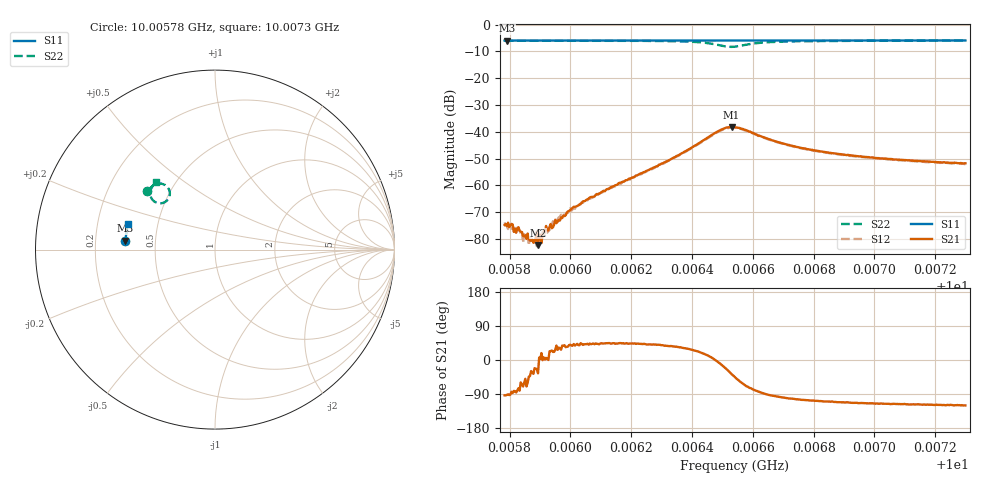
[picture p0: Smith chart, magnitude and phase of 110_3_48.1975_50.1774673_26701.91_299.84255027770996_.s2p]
#  HZ  S  RI  R  50.00
! Rohde & Schwarz Vector Network Analyzer
! Rohde-Schwarz,ZNB20-2Port,1311601062101988,3.16
! Created: UTC 3/20/2024, 11:40:58 AM
! freq[Hz]  re:S11  im:S11  re:S21  im:S21  re:S12  im:S12  re:S22  im:S22
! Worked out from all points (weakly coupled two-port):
!   401 points, 10.00578 GHz to 10.0073 GHz, reference 50 ohm
!   highest |S21| = -38.21 dB at 10.00653 GHz (marker M1); lowest = -82.2 dB at 10.00589 GHz (marker M2)
!   lowest |S11| = -6.0 dB at 10.00579 GHz (marker M3), VSWR 3.01, Z = 16.7 + j2.18 ohm
!   |S11| at or under -10 dB: nowhere
!   |S22| runs from -8.3 to -6.0 dB; largest |S21 - S12| = 0.00078
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1.0005784e10  -0.4988 0.0485  -1.01e-05 -0.000182  7.4e-06 -0.000204  -0.3773 0.3245
1.0005791e10  -0.4987 0.049  -6.35e-06 -0.000173  4.02e-07 -0.000173  -0.377 0.3249
1.0005803e10  -0.4988 0.0497  -4.86e-06 -0.000183  -1.22e-06 -0.00018  -0.3763 0.3257
1.0005818e10  -0.4987 0.0508  2.05e-05 -0.000154  3.79e-05 -0.000137  -0.3756 0.3267
1.0005833e10  -0.4986 0.0518  2.24e-05 -0.00014  3.46e-05 -0.000142  -0.3748 0.3277
1.0005848e10  -0.4984 0.0528  5.69e-05 -9.7e-05  5.36e-05 -0.000117  -0.3741 0.3286
1.0005871e10  -0.4984 0.0541  8.12e-05 -4.54e-05  8.07e-05 -6.14e-05  -0.3727 0.33
1.0005894e10  -0.4982 0.0556  6.34e-05 -4.45e-05  0.000108 -1.67e-05  -0.3716 0.3314
1.0005901e10  -0.4982 0.0563  0.00012 6.79e-06  9.36e-05 -2.51e-06  -0.371 0.3321
1.0005928e10  -0.4981 0.058  0.000145 1.67e-07  0.000128 5.51e-05  -0.3695 0.3337
1.0005966e10  -0.4978 0.0604  0.000189 0.000113  0.00021 0.000152  -0.3673 0.3363
1.0006003e10  -0.4975 0.0629  0.000288 0.000225  0.000253 0.000222  -0.3648 0.3388
1.0006038e10  -0.4973 0.0651  0.000345 0.000316  0.000338 0.000352  -0.3625 0.3411
1.0006291e10  -0.4952 0.0816  0.00186 0.00157  0.00177 0.00156  -0.335 0.3616
1.0006443e10  -0.4935 0.0915  0.00698 0.0019  0.00671 0.00218  -0.279 0.3604
1.0006496e10  -0.4925 0.0945  0.0107 -0.00223  0.0105 -0.00161  -0.2514 0.3158
1.000653e10  -0.492 0.0962  0.00978 -0.00745  0.00992 -0.00667  -0.2699 0.271
1.0006541e10  -0.4921 0.0967  0.00845 -0.00862  0.00875 -0.00801  -0.2841 0.2621
1.0006625e10  -0.4919 0.1019  0.000663 -0.00827  0.00107 -0.00813  -0.3546 0.2867
1.0006795e10  -0.4903 0.1131  -0.00136 -0.0044  -0.00111 -0.00431  -0.3568 0.3364
1.0007049e10  -0.4869 0.1291  -0.00135 -0.00279  -0.00121 -0.00279  -0.3415 0.3628
1.0007299e10  -0.483 0.1448  -0.00128 -0.00224  -0.00111 -0.00221  -0.3277 0.3786
